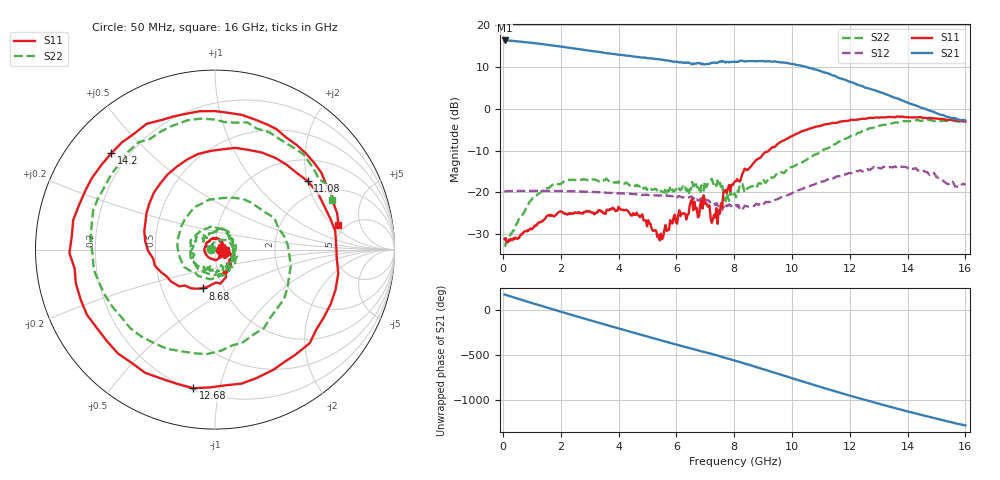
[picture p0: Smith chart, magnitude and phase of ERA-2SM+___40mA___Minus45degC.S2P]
! Mini-Circuits
! S2P DATA File Format
! Type: MMIC Amplifier
! Model: ERA-2SM  Reference Data:RDF-874AA
! Note: All S Parameters are in dB deg format
! TEST CONDITIONS: INPUT POWER = -20dBm, Icc = 40mA, Vd = 3.59V @Temperature = -45degC
! 401 Frequency points
# MHz S DB R 50
!  FREQ  dB(S11)  PHS(S11)  dB(S21)  PHS(S21)  dB(S12)  PHS(S12)  dB(S22)  PHS(S22)
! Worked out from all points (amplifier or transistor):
!   401 points, 50 MHz to 16 GHz, reference 50 ohm
!   highest |S21| = 16.4 dB at 50 MHz (marker M1)
!   |S21| within 3 dB of that: start of sweep to 3.541 GHz
!   unconditionally stable (mu >= 1): start of sweep to 10.39 GHz
!   at 1.37 GHz: K = 1.10, MAG = 15.7 dB, |S12| = -19.7 dB
!   at 4.1 GHz: K = 1.35, MAG = 13.1 dB, |S12| = -20.3 dB
!   at 16 GHz: K = 0.97, MSG = 7.8 dB, |S12| = -18.3 dB
!   S11 on the Smith chart (normalised r, x): 50 MHz: 1.06, -0.00; 8.68 GHz: 0.80, -0.36; 11.08 GHz: 1.55, +2.01; 12.68 GHz: 0.21, -0.83; 14.2 GHz: 0.14, +0.39; 16 GHz: 4.36, +2.37
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50  -31.20 -1.3  16.41 174.5  -19.69 -4.2  -32.95 172.7
810  -29.33 -9.7  15.98 98.2  -19.69 -57.9  -23.70 55.1
1610  -25.44 -54.7  15.29 20.4  -19.70 -115.6  -18.82 -22.7
2090  -25.04 -94.0  14.84 -25.4  -19.73 -150.7  -17.48 -67.3
2710  -25.03 -159.6  14.23 -83.5  -19.84 164.1  -16.99 -124.1
3310  -24.37 142.9  13.64 -138.9  -20.01 120.3  -17.38 -176.3
3830  -23.91 93.1  13.16 173.7  -20.21 82.4  -17.61 137.2
4620  -24.91 42.5  12.43 102.2  -20.56 24.1  -18.20 73.2
5380  -30.23 14.8  11.90 34.0  -20.84 -30.5  -19.64 12.4
5980  -27.21 19.9  11.31 -19.1  -21.09 -76.0  -19.31 -32.7
6740  -26.03 -11.4  10.99 -84.0  -22.04 -133.0  -18.86 -105.5
7580  -23.66 -6.8  11.47 -157.5  -24.27 168.1  -17.85 146.7
8060  -17.36 -62.6  11.22 157.7  -23.08 137.4  -21.23 100.2
8680  -12.88 -107.6  11.45 98.4  -23.33 101.6  -18.65 4.3
9640  -7.80 165.3  11.11 2.9  -21.15 40.6  -15.18 -122.4
10200  -5.87 114.8  10.48 -53.6  -19.59 -1.9  -13.31 166.0
10760  -4.43 64.4  9.50 -109.0  -18.19 -46.6  -11.05 96.6
11080  -3.85 36.5  8.80 -140.4  -17.43 -73.5  -9.83 61.6
12680  -2.14 -98.9  4.86 72.3  -14.67 146.4  -4.68 -94.4
13400  -1.95 -159.2  3.09 8.4  -13.97 79.8  -3.57 -157.3
14200  -2.06 137.2  0.96 -58.7  -14.42 8.2  -2.90 138.3
16000  -3.08 11.4  -2.76 161.7  -18.28 -117.0  -2.96 23.0
